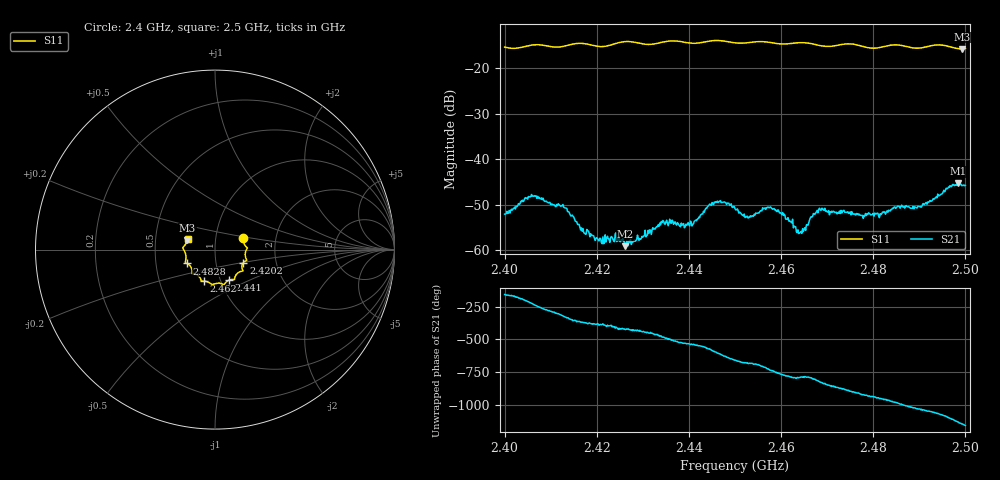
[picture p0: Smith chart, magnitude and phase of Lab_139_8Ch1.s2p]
# Hz S RI R 50
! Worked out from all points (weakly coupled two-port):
!   601 points, 2.4 GHz to 2.5 GHz, reference 50 ohm
!   highest |S21| = -45.31 dB at 2.4983 GHz (marker M1); lowest = -59.1 dB at 2.4262 GHz (marker M2)
!   lowest |S11| = -15.8 dB at 2.4993 GHz (marker M3), VSWR 1.39, Z = 36.5 + j3.91 ohm
!   |S11| at or under -10 dB: start of sweep to end of sweep
!   S12 and S22 are empty: the file has one direction only
!   S11 on the Smith chart (normalised r, x): 2.4 GHz: 1.36, +0.17; 2.4202 GHz: 1.36, -0.20; 2.441 GHz: 1.10, -0.39; 2.462 GHz: 0.84, -0.30; 2.4828 GHz: 0.72, -0.11; 2.5 GHz: 0.73, +0.09
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2.4e9  0.1583 0.062  -0.00231 -0.000928  0 0  0 0
2.406333e9  0.18 0.0106  -0.0023 0.00315  0 0  0 0
2.413e9  0.17 -0.04  0.00245 0.00159  0 0  0 0
2.416667e9  0.1769 -0.0604  0.00173 -0.00029  0 0  0 0
2.420167e9  0.158 -0.0721  0.00126 -0.000466  0 0  0 0
2.426167e9  0.1563 -0.1177  0.000459 -0.00101  0 0  0 0
2.433333e9  0.1116 -0.1511  -0.000708 -0.00176  0 0  0 0
2.441e9  0.0781 -0.1702  -0.00195 -6.48e-05  0 0  0 0
2.446e9  0.0498 -0.1948  -0.00166 0.00291  0 0  0 0
2.45e9  0.0278 -0.1874  0.00137 0.00251  0 0  0 0
2.452667e9  0.00189 -0.1897  0.00178 0.00156  0 0  0 0
2.4575e9  -0.0228 -0.1903  0.00284 -0.000678  0 0  0 0
2.462e9  -0.0608 -0.1756  0.00078 -0.00191  0 0  0 0
2.464e9  -0.0735 -0.1754  0.000511 -0.00146  0 0  0 0
2.466667e9  -0.0788 -0.1678  0.000581 -0.00224  0 0  0 0
2.468667e9  -0.086 -0.1533  -0.000906 -0.00258  0 0  0 0
2.482833e9  -0.1571 -0.0769  -0.00135 0.00226  0 0  0 0
2.483333e9  -0.1603 -0.0754  -0.00116 0.00249  0 0  0 0
2.49e9  -0.1642 -0.0233  0.00201 0.00224  0 0  0 0
2.498333e9  -0.1591 0.0386  0.00338 -0.00424  0 0  0 0
2.499333e9  -0.1542 0.0521  0.00203 -0.00474  0 0  0 0
2.5e9  -0.1528 0.0614  0.00109 -0.00504  0 0  0 0
